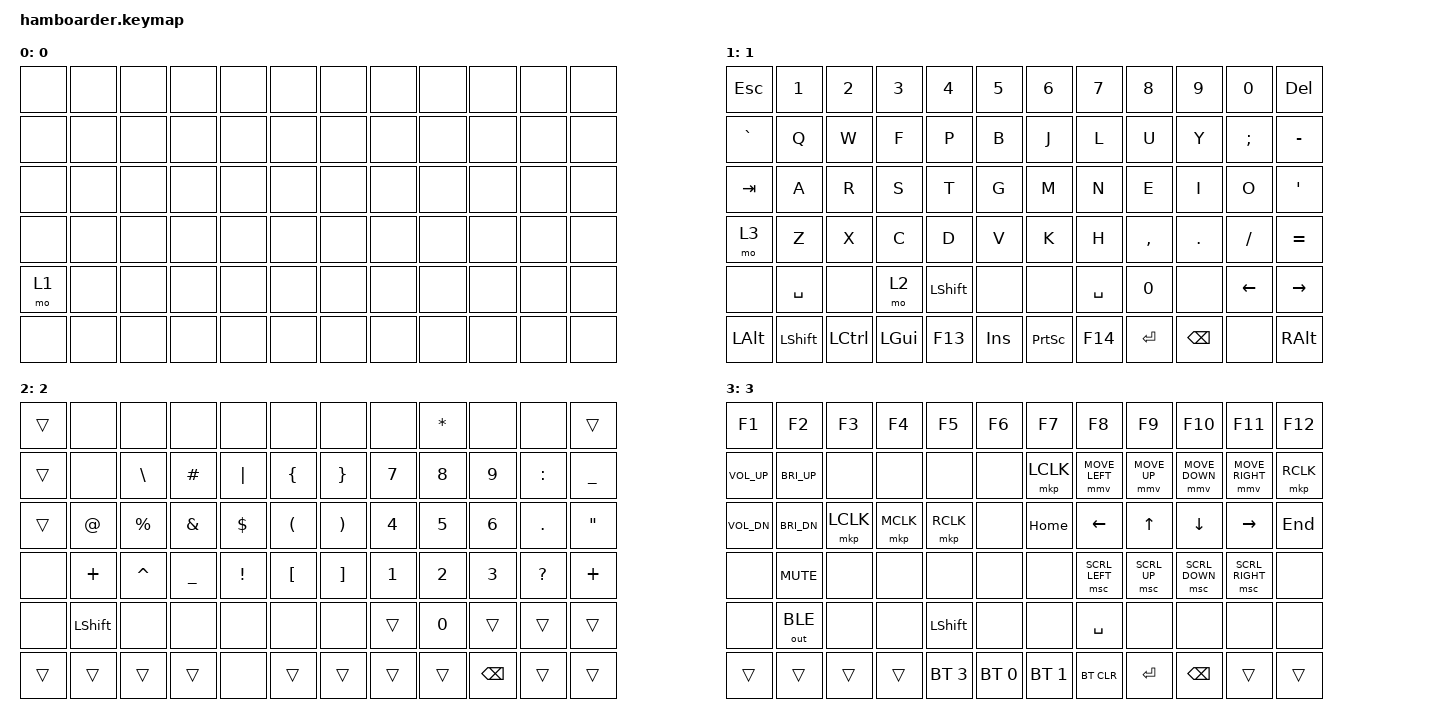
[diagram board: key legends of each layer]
#include <behaviors.dtsi>
#include <dt-bindings/zmk/keys.h>
#include <dt-bindings/zmk/bt.h>
#include <dt-bindings/zmk/outputs.h>

// mouse 
#define ZMK_POINTING_DEFAULT_MOVE_VAL 1000  // default: 600
#define ZMK_POINTING_DEFAULT_SCRL_VAL 20   // default: 10
#include <dt-bindings/zmk/pointing.h>

/* Mouse scroll: remove ramp-up delay (instant scroll) */
&msc {
	time-to-max-speed-ms = <0>;
	acceleration-exponent = <2>;
};

    /* 
    KEY POSITIONS
    Row 0:  0   1   2   3   4   5   6   7   8   9  10  11
    Row 1: 12  13  14  15  16  17  18  19  20  21  22  23
    Row 2: 24  25  26  27  28  29  30  31  32  33  34  35
    Row 3: 36  37  38  39  40  41  42  43  44  45  46  47
    Row 4: 48  49  50  51  52  53  54  55  56  57  58  59
    Row 5: 60  61  62  63  64  65  66  67  68  69  70  71
    */ 
/ {

    keymap {
        compatible = "zmk,keymap";


        // column       0                1                2                3                4                5                          6                7                8                9                10               11          
        // locked layer          
        0 {bindings = < &none            &none            &none            &none            &none            &none                      &none            &none            &none            &none            &none            &none
                        &none            &none            &none            &none            &none            &none                      &none            &none            &none            &none            &none            &none
                        &none            &none            &none            &none            &none            &none                      &none            &none            &none            &none            &none            &none
                        &none            &none            &none            &none            &none            &none                      &none            &none            &none            &none            &none            &none
                        &mo 1            &none            &none            &none            &none            &none                      &none            &none            &none            &none            &none            &none
                        &none            &none            &none            &none            &none            &none                      &none            &none            &none            &none            &none            &none >; }; 
        // main layer
        1 {bindings = < &kp ESC          &kp N1           &kp N2           &kp N3           &kp N4           &kp N5                     &kp N6           &kp N7           &kp N8           &kp N9           &kp N0           &kp DEL      
                        &kp GRAVE        &kp Q            &kp W            &kp F            &kp P            &kp B                      &kp J            &kp L            &kp U            &kp Y            &kp SEMI         &kp MINUS
                        &kp TAB          &kp A            &kp R            &kp S            &kp T            &kp G                      &kp M            &kp N            &kp E            &kp I            &kp O            &kp SINGLE_QUOTE
                        &mo 3            &kp Z            &kp X            &kp C            &kp D            &kp V                      &kp K            &kp H            &kp COMMA        &kp DOT          &kp FSLH         &kp EQUAL
                        &none            &kp SPACE        &none            &mo 2            &kp LSHFT        &none                      &none            &kp SPACE        &kp N0           &none            &kp LEFT         &kp RIGHT 
                        &kp LALT         &kp LSHFT        &kp LCTRL        &kp LGUI         &kp F13          &kp INSERT                 &kp PSCRN        &kp F14          &kp RET          &kp BSPC         &none            &kp RALT  >; };
        // numpad          
        2 {bindings = < &trans           &none            &none            &none            &none            &none                      &none            &none            &kp STAR         &none            &none            &trans
                        &trans           &none            &kp BSLH         &kp HASH         &kp PIPE         &kp LBRC                   &kp RBRC         &kp N7           &kp N8           &kp N9           &kp COLON        &kp UNDERSCORE 
                        &trans           &kp AT           &kp PRCNT        &kp AMPS         &kp DLLR         &kp LPAR                   &kp RPAR         &kp N4           &kp N5           &kp N6           &kp DOT          &kp DOUBLE_QUOTES
                        &none            &kp PLUS         &kp CARET        &kp UNDERSCORE   &kp EXCL         &kp LBKT                   &kp RBKT         &kp N1           &kp N2           &kp N3           &kp QUESTION     &kp PLUS
                        &none            &kp LSHFT        &none            &none            &none            &none                      &none            &trans           &kp N0           &trans           &trans           &trans  
                        &trans           &trans           &trans           &trans           &none            &trans                     &trans           &trans           &trans           &kp BSPC         &trans           &trans >; };              
        // arrowkeys          
        3 {bindings = < &kp F1           &kp F2           &kp F3           &kp F4           &kp F5           &kp F6                     &kp F7           &kp F8           &kp F9           &kp F10          &kp F11          &kp F12
                        &kp C_VOL_UP     &kp C_BRI_UP     &none            &none            &none            &none                      &mkp LCLK        &mmv MOVE_LEFT   &mmv MOVE_UP     &mmv MOVE_DOWN   &mmv MOVE_RIGHT  &mkp RCLK
                        &kp C_VOL_DN     &kp C_BRI_DN     &mkp LCLK        &mkp MCLK        &mkp RCLK        &none                      &kp HOME         &kp LEFT         &kp UP           &kp DOWN         &kp RIGHT        &kp END
                        &none            &kp C_MUTE       &none            &none            &none            &none                      &none            &msc SCRL_LEFT   &msc SCRL_UP     &msc SCRL_DOWN   &msc SCRL_RIGHT  &none 
                        &none            &out OUT_BLE     &none            &none            &kp LSHFT        &none                      &none            &kp SPACE        &none            &none            &none            &none 
                        &trans           &trans           &trans           &trans           &bt BT_SEL 3     &bt BT_SEL 0               &bt BT_SEL 1     &bt BT_CLR       &kp RET          &kp BSPC         &trans           &trans >; };
          

    };
}; 
